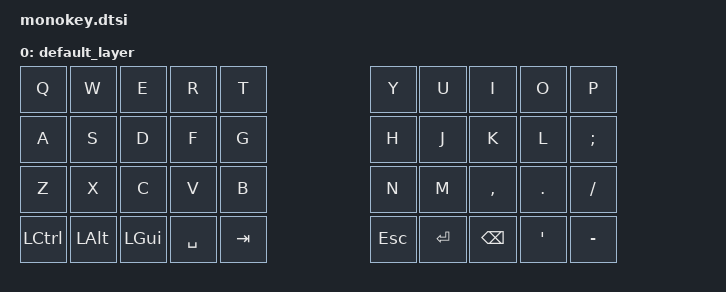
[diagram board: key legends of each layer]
#include <dt-bindings/zmk/matrix_transform.h>
#include <physical_layouts.dtsi>
#include <dt-bindings/zmk/keys.h>
#include <dt-bindings/zmk/bt.h>
#include <dt-bindings/zmk/mouse.h>

#define RC_(row, col) (row << 8 | col)

/ {
    aliases {
        led-red = &led0;
        led-green = &led1;
        led-blue = &led2;
    };

    chosen {
        zmk,physical-layout = &monokey_physical_layout;
    };

    monokey_physical_layout: monokey_physical_layout {
        compatible = "zmk,physical-layout";
        display-name = "Default";
        transform = <&default_transform>;
        kscan = <&kscan0>;
        keys = <
            <&key_physical_attrs 100 100    0    0 0 0 0> , <&key_physical_attrs 100 100  100    0 0 0 0>
            // ... (省略：物理レイアウト定義)
            , <&key_physical_attrs 100 100 1200  300 0 0 0>
        >;
    };

    default_transform: keymap_transform_0 {
        compatible = "zmk,matrix-transform";
        columns = <11>;
        rows = <4>;               
        map = <
            RC_(0,0) RC_(0,1) RC_(0,2) RC_(0,3) RC_(0,4)                     RC_(0,6) RC_(0,7) RC_(0,8) RC_(0,9) RC_(0,10)
            RC_(1,0) RC_(1,1) RC_(1,2) RC_(1,3) RC_(1,4)                     RC_(1,6) RC_(1,7) RC_(1,8) RC_(1,9) RC_(1,10)
            RC_(2,0) RC_(2,1) RC_(2,2) RC_(2,3) RC_(2,4)                     RC_(2,6) RC_(2,7) RC_(2,8) RC_(2,9) RC_(2,10)
            RC_(3,0) RC_(3,1) RC_(3,2) RC_(3,3) RC_(3,4) RC_(3,5)     RC_(3,6) RC_(3,7)                 RC_(3,9) RC_(3,10)         
        >;
    };

    kscan0: kscan {
        compatible = "zmk,kscan-gpio-matrix";
        label = "KSCAN";
        diode-direction = "col2row";
        row-gpios
            = <&xiao_d 1 (GPIO_ACTIVE_HIGH | GPIO_PULL_DOWN)> 
            , <&xiao_d 2 (GPIO_ACTIVE_HIGH | GPIO_PULL_DOWN)> 
            , <&xiao_d 3 (GPIO_ACTIVE_HIGH | GPIO_PULL_DOWN)> 
            , <&xiao_d 6 (GPIO_ACTIVE_HIGH | GPIO_PULL_DOWN)>             
            ;
    };

    keymap {
        compatible = "zmk,keymap";
        default_layer {
            bindings = <
                &kp Q &kp W &kp E &kp R &kp T                 &kp Y &kp U &kp I &kp O &kp P
                &kp A &kp S &kp D &kp F &kp G                 &kp H &kp J &kp K &kp L &kp SEMI
                &kp Z &kp X &kp C &kp V &kp B                 &kp N &kp M &kp COMMA &kp DOT &kp FSLH
                &kp LCTRL &kp LALT &kp LGUI &kp SPACE &kp TAB &kp ESC &kp RET &kp BSPC     &kp SQT &kp MINUS
            >;
        };
    };
};
